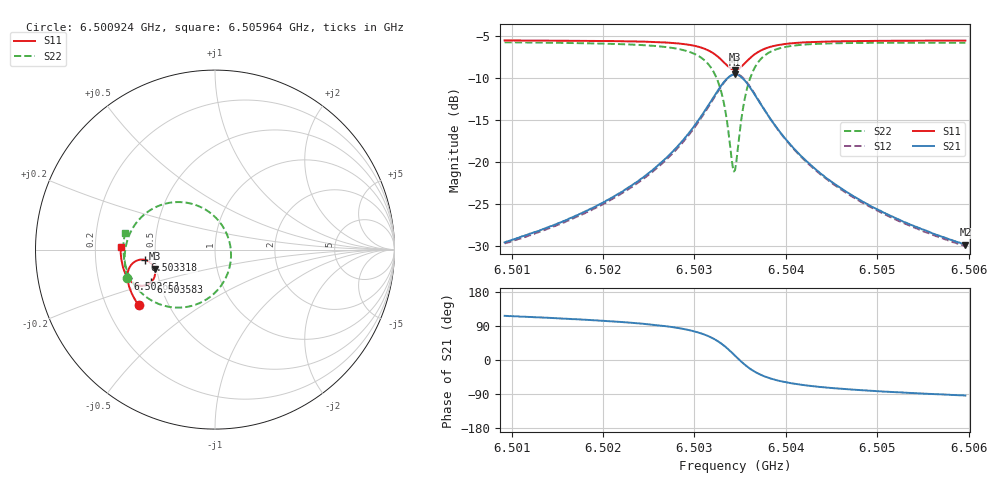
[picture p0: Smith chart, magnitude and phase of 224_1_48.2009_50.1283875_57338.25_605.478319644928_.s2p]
#  HZ  S  RI  R  50.00
! Rohde & Schwarz Vector Network Analyzer
! Rohde-Schwarz,ZNB20-2Port,1311601062101988,3.16
! Created: UTC 3/20/2024, 11:46:04 AM
! freq[Hz]  re:S11  im:S11  re:S21  im:S21  re:S12  im:S12  re:S22  im:S22
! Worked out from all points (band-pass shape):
!   401 points, 6.500924 GHz to 6.505964 GHz, reference 50 ohm
!   highest |S21| = -9.61 dB at 6.503444 GHz (marker M1); lowest = -29.8 dB at 6.505964 GHz (marker M2)
!   |S21| within 3 dB of the highest: 6.503192 GHz to 6.503696 GHz (504.1 kHz wide, 0.00775 % of centre)
!   lowest |S11| = -9.0 dB at 6.503444 GHz (marker M3), VSWR 2.09, Z = 24.4 - j5.95 ohm
!   |S11| at or under -10 dB: nowhere
!   |S22| runs from -21.1 to -5.8 dB; largest |S21 - S12| = 0.012
!   S11 on the Smith chart (normalised r, x): 6.500924 GHz: 0.34, -0.29; 6.502651 GHz: 0.33, -0.14; 6.503318 GHz: 0.44, -0.06; 6.503583 GHz: 0.45, -0.19; 6.505964 GHz: 0.31, +0.01
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6.5009244e9  -0.4251 -0.3107  -0.0149 0.0298  -0.0131 0.0301  -0.4892 -0.1564
6.5017685e9  -0.4616 -0.2486  -0.0142 0.0476  -0.0119 0.0472  -0.5029 -0.067
6.5022095e9  -0.4772 -0.2097  -0.0116 0.0656  -0.00866 0.0647  -0.5006 -0.00515
6.5026127e9  -0.487 -0.1656  -0.00244 0.0967  0.00127 0.0943  -0.4804 0.0744
6.5026505e9  -0.4874 -0.1608  -0.000557 0.1009  0.00316 0.0982  -0.4766 0.0838
6.5029277e9  -0.4835 -0.1177  0.0263 0.1433  0.03 0.139  -0.4208 0.1699
6.5031167e9  -0.4621 -0.0796  0.0806 0.1855  0.083 0.1795  -0.3167 0.2425
6.5032301e9  -0.4293 -0.0589  0.1502 0.2031  0.151 0.1968  -0.1914 0.2647
6.5033183e9  -0.3887 -0.0574  0.2301 0.1866  0.2304 0.1813  -0.0535 0.2233
6.5033561e9  -0.3693 -0.0652  0.2665 0.163  0.2674 0.1584  0.00659 0.1756
6.5034191e9  -0.3425 -0.0922  0.3141 0.0983  0.3168 0.0933  0.0785 0.0511
6.5034443e9  -0.3362 -0.107  0.3242 0.0658  0.3276 0.0599  0.0888 -0.00957
6.5034695e9  -0.3333 -0.1228  0.3276 0.0319  0.331 0.0249  0.0864 -0.0714
6.5035325e9  -0.3407 -0.1601  0.3088 -0.0463  0.3109 -0.0564  0.0294 -0.207
6.5035829e9  -0.3573 -0.182  0.275 -0.0916  0.2744 -0.103  -0.0478 -0.2777
6.5036963e9  -0.402 -0.2012  0.1903 -0.1361  0.1849 -0.1457  -0.2191 -0.3228
6.5038601e9  -0.4481 -0.1915  0.1085 -0.1326  0.1013 -0.1377  -0.3666 -0.2754
6.5040365e9  -0.4755 -0.1701  0.064 -0.1124  0.0576 -0.1146  -0.4386 -0.2103
6.5042885e9  -0.4962 -0.1402  0.0339 -0.0881  0.0292 -0.0884  -0.4818 -0.1379
6.5046791e9  -0.512 -0.0997  0.0146 -0.0642  0.0112 -0.0637  -0.5047 -0.0607
6.5051327e9  -0.5212 -0.0577  0.00498 -0.0481  0.00281 -0.0474  -0.5102 0.00278
6.5059642e9  -0.5259 0.0127  -0.00208 -0.0322  -0.00338 -0.0315  -0.5024 0.0907
